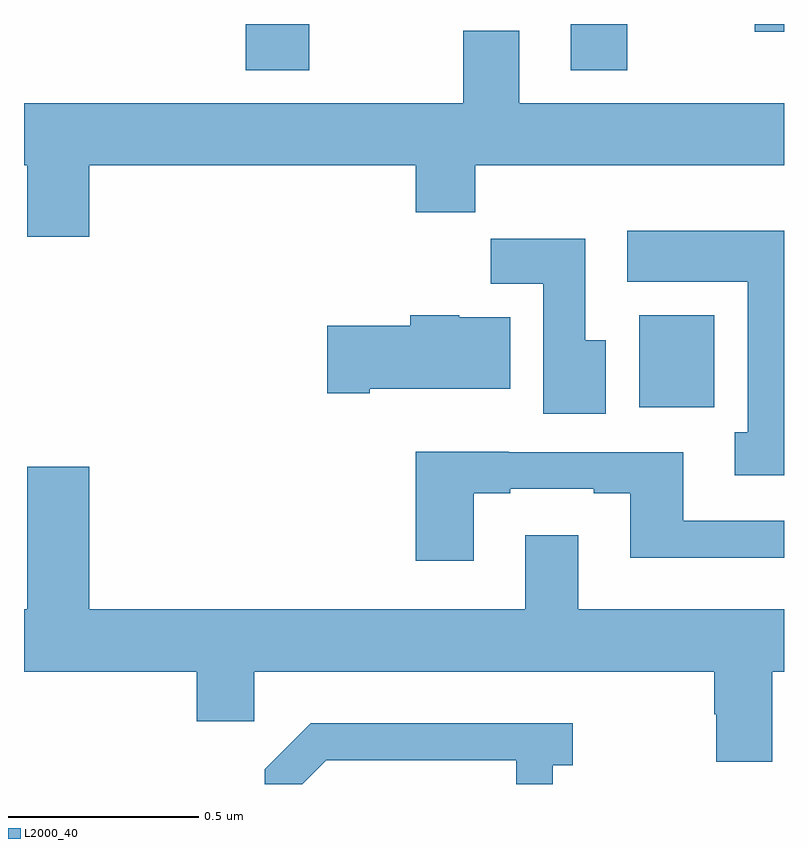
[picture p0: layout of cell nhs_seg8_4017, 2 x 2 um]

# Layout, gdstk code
import gdstk
lib = gdstk.Library(unit=1e-6, precision=1e-09)
def R(c, l, rs):  # rectangles x0, y0, x1, y1
    for r in rs: c.add(gdstk.rectangle(r[:2], r[2:], *l))
def P(c, l, *ps):  # polygons
    for p in ps: c.add(gdstk.Polygon(p, *l))
L2000_40 = (2000, 40)

nhs_seg8_4017 = lib.new_cell('nhs_seg8_4017')
R(nhs_seg8_4017, L2000_40, [(166.619,1087.892,166.816,1088.134), (165.584,1088.778,165.751,1088.9), (166.439,1088.778,166.587,1088.9), (166.923,1088.88,167,1088.9)])
P(nhs_seg8_4017, L2000_40, [(165.172,1088.528),(166.031,1088.528),(166.031,1088.404),(166.187,1088.404),(166.187,1088.528),(167,1088.528),(167,1088.692),(166.303,1088.692),(166.303,1088.882),(166.156,1088.882),(166.156,1088.692),(165,1088.692),(165,1088.528),(165.008,1088.528),(165.008,1088.34),(165.172,1088.34)],
  [(167,1088.356),(166.587,1088.356),(166.587,1088.222),(166.904,1088.222),(166.904,1087.826),(166.871,1087.826),(166.871,1087.713),(167,1087.713)],
  [(166.531,1088.068),(166.477,1088.068),(166.477,1088.335),(166.228,1088.335),(166.228,1088.216),(166.367,1088.216),(166.367,1087.875),(166.531,1087.875)],
  [(165.91,1087.94),(166.279,1087.94),(166.279,1088.128),(166.146,1088.128),(166.146,1088.134),(166.016,1088.134),(166.016,1088.106),(165.798,1088.106),(165.798,1087.928),(165.91,1087.928)],
  [(166.183,1087.665),(166.279,1087.665),(166.279,1087.677),(166.499,1087.677),(166.499,1087.665),(166.595,1087.665),(166.595,1087.496),(167,1087.496),(167,1087.593),(166.735,1087.593),(166.735,1087.773),(166.275,1087.773),(166.275,1087.774),(166.031,1087.774),(166.031,1087.488),(166.183,1087.488)],
  [(166.969,1087.196),(167,1087.196),(167,1087.36),(166.459,1087.36),(166.459,1087.555),(166.319,1087.555),(166.319,1087.36),(165.172,1087.36),(165.172,1087.735),(165.008,1087.735),(165.008,1087.36),(165,1087.36),(165,1087.196),(165.455,1087.196),(165.455,1087.065),(165.606,1087.065),(165.606,1087.196),(166.817,1087.196),(166.817,1087.083),(166.822,1087.083),(166.822,1086.958),(166.969,1086.958)],
  [(165.795,1086.963),(166.295,1086.963),(166.295,1086.9),(166.392,1086.9),(166.392,1086.95),(166.444,1086.95),(166.444,1087.06),(165.754,1087.06),(165.633,1086.939),(165.633,1086.9),(165.732,1086.9)])

lib.write_gds('nhs_seg8_4017.gds')
